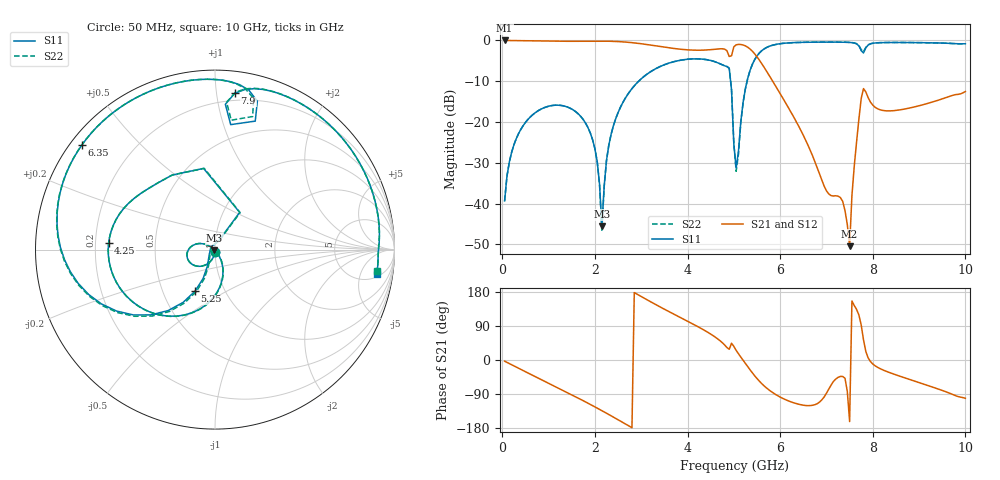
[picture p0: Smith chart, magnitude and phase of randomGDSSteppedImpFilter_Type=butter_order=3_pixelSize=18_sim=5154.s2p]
! freq	dB(S11)	phase(S11)	dB(S12)	phase(S12)
!  dB(S21)	phase(S21)	dB(S22)	phase(S22)
!S-par simulation data
#  GHz  S  DB  R 50
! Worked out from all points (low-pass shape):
!   200 points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, 50 MHz to 10 GHz, reference 50 ohm
!   highest |S21| = -0.01 dB at 50 MHz (marker M1); lowest = -50.4 dB at 7.5 GHz (marker M2)
!   |S21| within 3 dB of the highest: start of sweep to 4.868 GHz; 4.967 GHz to 5.428 GHz (460.7 MHz wide, 8.86 % of centre)
!   lowest |S11| = -45.5 dB at 2.15 GHz (marker M3), VSWR 1.01, Z = 49.6 - j0.352 ohm
!   |S11| at or under -10 dB: start of sweep to 2.944 GHz; 4.93 GHz to 5.285 GHz (355.2 MHz wide, 6.95 % of centre)
!   |S22| runs from -46.8 to -0.4 dB; largest |S21 - S12| = 0
!   S11 on the Smith chart (normalised r, x): 50 MHz: 1.00, -0.02; 4.25 GHz: 0.25, +0.03; 5.25 GHz: 0.72, -0.36; 6.35 GHz: 0.03, +0.35; 7.9 GHz: 0.15, +1.12; 10 GHz: 6, -10
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0.05  -39.32 -92.4  -0.01 -3.2  -0.01 -3.2  -39.32 -92.4
0.25  -25.61 -105.4  -0.04 -15.5  -0.04 -15.5  -25.61 -105.5
0.6  -18.81 -127.4  -0.11 -37.0  -0.11 -37.0  -18.81 -127.5
1.75  -19.43 162.9  -0.18 -107.5  -0.18 -107.5  -19.43 162.4
2.05  -29.75 147.4  -0.16 -127.0  -0.16 -127.0  -29.77 145.3
2.15  -45.53 -137.9  -0.17 -133.7  -0.17 -133.7  -46.80 -134.2
2.25  -29.42 -57.1  -0.18 -140.4  -0.18 -140.4  -29.45 -54.6
2.45  -19.15 -66.9  -0.25 -154.2  -0.25 -154.2  -19.16 -66.1
3.4  -6.43 -130.3  -1.47 140.5  -1.47 140.5  -6.43 -130.0
4.25  -4.53 176.6  -2.40 86.2  -2.40 86.2  -4.53 176.8
4.9  -6.80 98.0  -3.93 28.2  -3.93 28.2  -6.81 97.5
5.05  -31.25 147.4  -1.08 25.3  -1.08 25.3  -32.07 141.6
5.25  -11.79 -115.7  -1.33 -9.2  -1.33 -9.2  -11.83 -114.0
5.75  -1.50 -176.3  -8.33 -78.2  -8.33 -78.2  -1.51 -175.5
6.35  -0.51 141.8  -19.94 -115.1  -19.94 -115.1  -0.51 142.5
6.7  -0.43 124.3  -28.27 -119.4  -28.27 -119.4  -0.43 125.0
7.35  -0.43 94.9  -39.43 -43.4  -39.43 -43.4  -0.43 95.7
7.5  -0.49 87.5  -50.42 -162.4  -50.42 -162.4  -0.48 88.5
7.75  -2.50 72.6  -14.25 92.5  -14.25 92.5  -2.26 74.2
7.9  -1.12 82.7  -14.02 5.6  -14.02 5.6  -1.06 82.5
8.35  -0.51 59.7  -17.27 -32.7  -17.27 -32.7  -0.50 60.2
10  -0.82 -8.4  -12.53 -101.2  -12.53 -101.2  -0.81 -7.7
